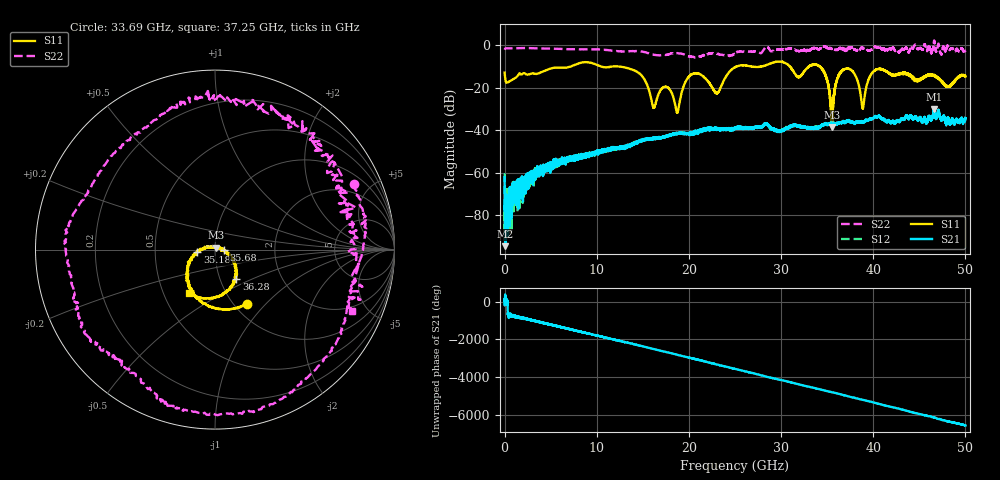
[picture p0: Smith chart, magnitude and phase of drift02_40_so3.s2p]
!Created with skrf (http://scikit-rf.org).
# Hz S RI R 50.0
!freq ReS11 ImS11 ReS21 ImS21 ReS12 ImS12 ReS22 ImS22
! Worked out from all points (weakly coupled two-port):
!   10001 points, 300 kHz to 50 GHz, reference 50 ohm
!   highest |S21| = -29.98 dB at 46.61 GHz (marker M1); lowest = -94.5 dB at 85.3 MHz (marker M2)
!   lowest |S11| = -38.5 dB at 35.54 GHz (marker M3), VSWR 1.02, Z = 50.5 + j1.08 ohm
!   |S11| at or under -10 dB: start of sweep to 7.178 GHz; 12.36 GHz to 25.18 GHz (12.82 GHz wide, 68.3 % of centre); 34.2 GHz to end of sweep (the widest 3 of 15)
!   |S22| runs from -5.7 to 2.2 dB; largest |S21 - S12| = 0.0035
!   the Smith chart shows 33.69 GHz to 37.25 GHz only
!   S11 on the Smith chart (normalised r, x): 33.69 GHz: 1.15, -0.79; 35.18 GHz: 0.82, -0.03; 35.68 GHz: 1.10, -0.00; 36.28 GHz: 1.19, -0.41; 37.25 GHz: 0.67, -0.35
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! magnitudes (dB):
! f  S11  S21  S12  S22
! 300 kHz  -12.8  -62.1  -60.2  -2.1
! 85.3 MHz  -16.4  -94.5  -76.8  -1.5
! 8.335 GHz  -8.2  -51.1  -53.0  -1.9
! 14.03 GHz  -11.8  -46.1  -46.4  -2.8
! 16.15 GHz  -29.3  -44.0  -44.0  -4.5
! 16.67 GHz  -23.3  -43.4  -43.6  -4.7
! 18.74 GHz  -31.7  -41.4  -41.6  -3.7
! 20.24 GHz  -13.9  -41.2  -41.5  -5.5
! 23.03 GHz  -22.6  -39.2  -39.1  -4.1
! 25 GHz  -10.4  -39.1  -39.1  -3.9
! 33.34 GHz  -9.3  -38.8  -38.6  -1.6
! 33.69 GHz  -9.1  -38.9  -38.3  -1.4
! 35.18 GHz  -20.0  -37.2  -37.2  -1.6
! 35.54 GHz  -38.5  -36.9  -36.8  -1.7
! 35.68 GHz  -26.1  -36.8  -36.8  -1.6
! 36.28 GHz  -13.8  -36.8  -36.7  -1.7
! 37.25 GHz  -11.0  -35.6  -35.6  -1.5
! 38.86 GHz  -29.9  -35.8  -36.0  -1.3
! 39.96 GHz  -12.7  -34.3  -34.5  -1.9
! 41.67 GHz  -12.9  -35.3  -35.6  -1.9
! 46.61 GHz  -14.3  -30.0  -30.5  2.2
! 50 GHz  -14.6  -34.4  -34.4  -2.7
